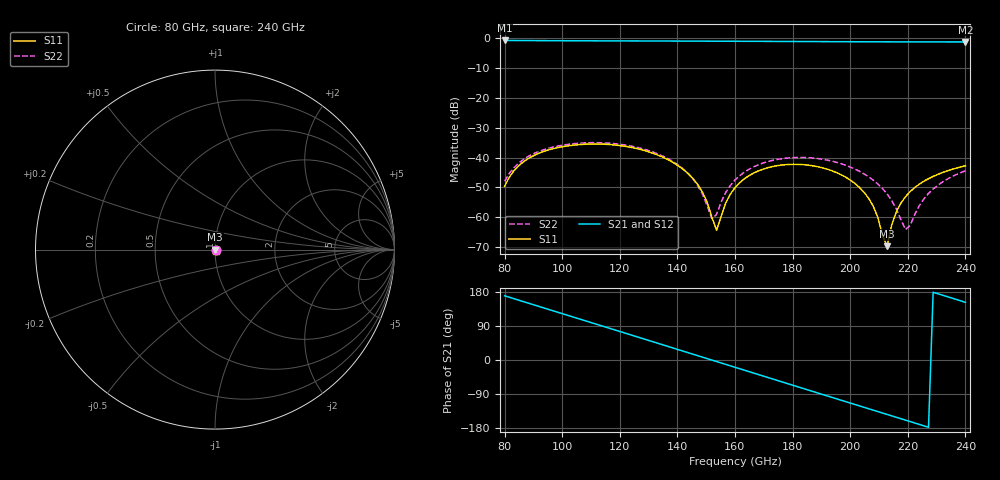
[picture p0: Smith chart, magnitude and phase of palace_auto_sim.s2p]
#  GHZ S DB R 50
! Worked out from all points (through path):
!   101 points, 80 GHz to 240 GHz, reference 50 ohm
!   highest |S21| = -0.83 dB at 80 GHz (marker M1); lowest = -1.3 dB at 240 GHz (marker M2)
!   group delay of S21, straight-line fit = 6.55 ps
!   lowest |S11| = -69.7 dB at 212.8 GHz (marker M3), VSWR 1.00, Z = 50 + j0.0328 ohm
!   |S11| at or under -10 dB: start of sweep to end of sweep
!   |S22| runs from -64.1 to -35.0 dB; largest |S21 - S12| = 1e-13
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80  -49.66 -7.7  -0.83 169.5  -0.83 169.5  -47.96 -8.4
83.2  -44.49 -7.6  -0.84 161.9  -0.84 161.9  -43.44 -9.0
89.6  -39.61 -18.1  -0.87 146.8  -0.87 146.8  -38.93 -19.5
107.2  -35.60 -54.6  -0.94 105.4  -0.94 105.4  -35.13 -55.9
120  -36.00 -83.7  -0.98 75.3  -0.98 75.3  -35.57 -84.7
134.4  -39.66 -118.2  -1.01 41.3  -1.01 41.3  -39.30 -118.4
142.4  -44.28 -136.4  -1.04 22.4  -1.04 22.4  -44.15 -135.2
147.2  -49.26 -144.5  -1.05 11.1  -1.05 11.1  -49.60 -140.2
152  -60.10 -129.6  -1.07 -0.3  -1.07 -0.3  -60.46 -95.8
153.6  -64.34 -76.9  -1.07 -4.1  -1.07 -4.1  -59.05 -47.0
156.8  -55.21 -20.4  -1.08 -11.6  -1.08 -11.6  -51.69 -21.6
160  -50.10 -19.8  -1.09 -19.2  -1.09 -19.2  -47.55 -22.1
171.2  -43.46 -44.2  -1.13 -45.7  -1.13 -45.7  -41.42 -45.6
187.2  -42.80 -88.2  -1.20 -83.4  -1.20 -83.4  -40.18 -87.5
196.8  -45.74 -116.5  -1.24 -106.0  -1.24 -106.0  -42.05 -112.9
204.8  -51.63 -142.4  -1.27 -124.8  -1.27 -124.8  -45.47 -132.4
208  -56.30 -155.9  -1.28 -132.4  -1.28 -132.4  -47.57 -139.1
212.8  -69.67 87.0  -1.29 -143.6  -1.29 -143.6  -52.17 -145.4
214.4  -62.68 41.9  -1.29 -147.4  -1.29 -147.4  -54.39 -145.1
219.2  -53.11 13.4  -1.30 -158.7  -1.30 -158.7  -64.11 -97.7
227.2  -47.08 -10.4  -1.31 -177.5  -1.31 -177.5  -52.03 -28.4
240  -42.77 -44.2  -1.33 152.3  -1.33 152.3  -44.46 -51.5
